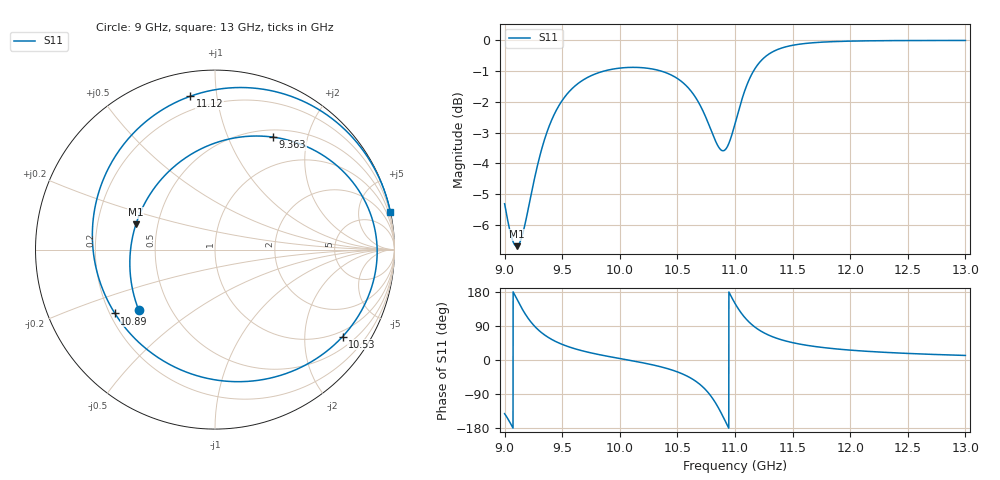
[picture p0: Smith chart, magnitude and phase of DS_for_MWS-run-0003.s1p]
! TOUCHSTONE file generated by CST DESIGN STUDIO
! Date and time: Wed Feb  5 13:47:39 2025
! Project name: C:\Work\MatlabApps\UnitCellOptimizationMatlab\CST\unitcell.cst
! Tree item: Tasks\Sweep1\SPara1\S-Parameters
! Header version: 2024
! Port assignment regex: !\s*Touchstone port\s*([0-9]+)\s*=\s*(CST MWS port|CST DES external port|CST DES block port)\s*(.+)\s* \(\"(.*)\"\)(\s*mode\s*([0-9]+))?.*
! Touchstone port assignment:
! Touchstone port 1 = CST DES external port 1 ("")
# GHz S MA R 50
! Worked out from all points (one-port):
!   4001 points, 9 GHz to 13 GHz, reference 50 ohm
!   lowest |S11| = -6.7 dB at 9.104 GHz (marker M1), VSWR 2.72, Z = 18.8 + j6.75 ohm
!   |S11| at or under -10 dB: nowhere
!   S11 on the Smith chart (normalised r, x): 9 GHz: 0.33, -0.31; 9.363 GHz: 0.59, +1.47; 10.53 GHz: 0.81, -3.04; 10.89 GHz: 0.22, -0.28; 11.12 GHz: 0.12, +0.84; 13 GHz: 0.02, +9.52
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9  0.5423 -141.6
9.056  0.4818 -170.0
9.104  0.4627 162.2
9.168  0.4938 126.8
9.227  0.5573 100.8
9.29  0.6312 80.2
9.363  0.7049 62.8
9.5  0.7984 41.2
9.711  0.8685 21.5
10  0.9013 3.9
10.291  0.8977 -13.2
10.5  0.8668 -31.4
10.525  0.8603 -34.3
10.654  0.8095 -54.9
10.763  0.7371 -84.6
10.83  0.6865 -112.7
10.893  0.6614 -147.5
10.947  0.68 179.5
11  0.7316 149.3
11.061  0.8028 121.2
11.125  0.8651 99.3
11.194  0.9112 82.2
11.29  0.9488 65.9
11.5  0.9816 45.8
11.708  0.992 35.0
12  0.9971 26.1
12.5  0.9993 17.3
13  0.9996 12.0
